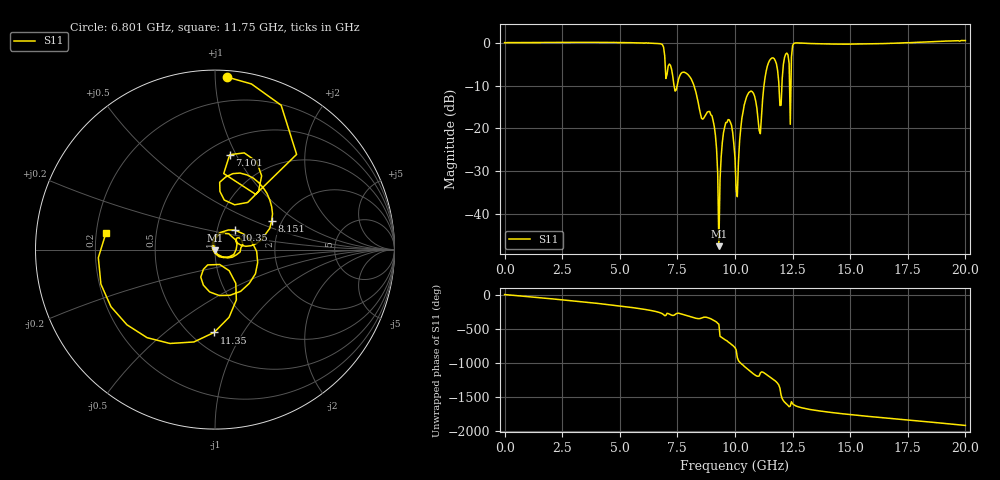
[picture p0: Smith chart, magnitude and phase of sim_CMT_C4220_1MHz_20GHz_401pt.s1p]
! Created with skrf (http://scikit-rf.org).
# Hz S RI R 50.0
!freq ReS11 ImS11
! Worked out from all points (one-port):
!   401 points, 1 MHz to 20 GHz, reference 50 ohm
!   lowest |S11| = -47.4 dB at 9.301 GHz (marker M1), VSWR 1.01, Z = 50.1 - j0.413 ohm
!   |S11| at or under -10 dB: 7.354 GHz to 7.491 GHz (137 MHz wide, 1.85 % of centre); 8.217 GHz to 11.26 GHz (3.042 GHz wide, 31.2 % of centre); 11.91 GHz to 12.04 GHz (129.5 MHz wide, 1.08 % of centre)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
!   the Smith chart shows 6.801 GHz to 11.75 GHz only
!   S11 on the Smith chart (normalised r, x): 6.801 GHz: 0.04, +1.07; 7.101 GHz: 0.64, +0.94; 8.151 GHz: 1.77, +0.64; 10.35 GHz: 1.22, +0.27; 11.35 GHz: 0.64, -0.75; 11.75 GHz: 0.24, +0.07
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1000000  1 -0.00229
2.500875e9  0.2131 -0.9822
3.700815e9  -0.4751 -0.8875
5.00075e9  -0.978 -0.2127
6.050698e9  -0.7967 0.5872
6.80066e9  0.0689 0.9608
7.100645e9  0.0818 0.5288
7.500625e9  0.0275 0.3239
8.150592e9  0.3152 0.1576
9.00055e9  0.1401 -0.0127
9.300535e9  0.00108 -0.00412
9.650518e9  0.0886 0.0771
1.00005e10  0.0229 -0.0394
1.015049e10  -0.0138 0.0386
1.035048e10  0.1117 0.1087
1.070046e10  0.1428 -0.2326
1.110044e10  0.0262 -0.083
1.135043e10  -0.00463 -0.4613
1.175041e10  -0.6074 0.0934
1.20004e10  0.1486 -0.1131
1.220039e10  -0.6716 -0.2998
1.250038e10  -0.8818 -0.2712
1.265037e10  -0.9489 0.2897
1.335033e10  -0.2866 0.9292
1.500025e10  0.7633 0.5814
1.750012e10  0.7361 -0.6725
1.875006e10  0.1541 -1.017
2e10  -0.5631 -0.8946
